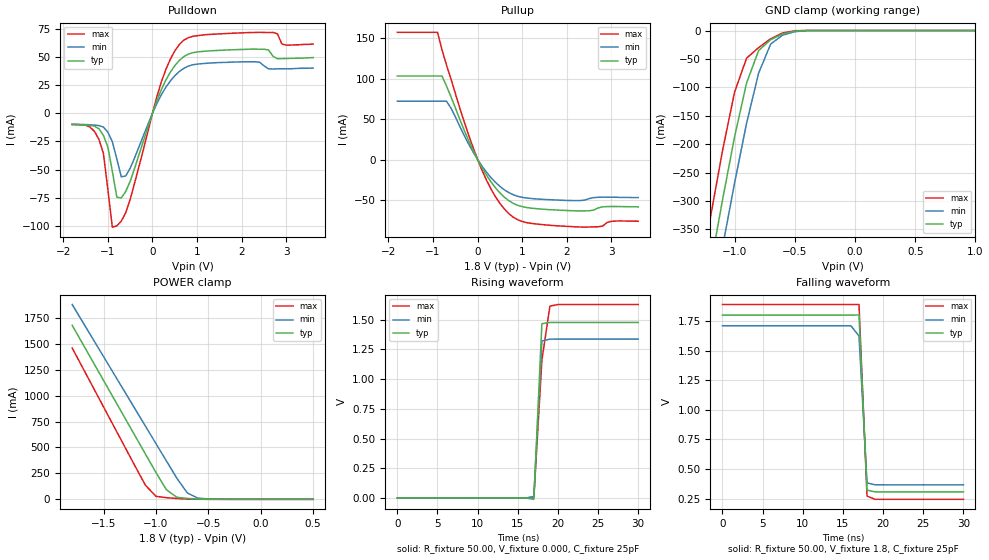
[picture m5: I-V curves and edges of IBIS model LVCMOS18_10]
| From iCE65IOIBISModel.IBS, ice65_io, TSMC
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|   Model LVCMOS18_10
[Model]   LVCMOS18_10
Model_type   I/O
Polarity   Non-Inverting
Enable   Active-High
Vinl =   0.63V
Vinh =   1.17V
Vmeas =   0.9V
Cref =  15.00pF
Rref =   1.00M
Vref =  0.000V
C_comp   1.30pF   1.17pF   1.43pF
[Temperature Range]   25.00   85   -40.00
[Voltage Range]   1.8V   1.71V   1.89V
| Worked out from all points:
|   slope of the pulldown table from 0 to 0.27 V, typ, clamps not added: 10 ohm
|   slope of the pullup table from 0 to 0.27 V, typ, clamps not added: 10.7 ohm
|   GND clamp passes 1 mA (typ) near -0.49 V on its own axis
|   POWER clamp passes 1 mA (typ) near -0.52 V on its own axis
|   rising waveform, R_fixture 50.00, V_fixture 0.000, C_fixture 25pF: 20-80 % time 600ps typ, 613ps min, 1.03ns max; typ from 0 V to 1.48 V
|   falling waveform, R_fixture 50.00, V_fixture 1.8, C_fixture 25pF: 20-80 % time 605ps typ, 650ps min, 610ps max; typ from 1.8 V to 0.306 V
[Pulldown]
| voltage I(typ) I(min) I(max)
-1.8V     -10mA      -9.7mA     -9.9mA
-1.2V     -13.8mA    -10.9mA    -23.2mA
-1.1V     -19.6mA    -12.2mA    -35.7mA
-900mV    -51.5mA    -25.2mA    -101mA
-800mV    -74.4mA    -40.5mA    -99.9mA
-700mV    -75.2mA    -56.3mA    -95.7mA
-600mV    -69.3mA    -55.6mA    -88.2mA
200mV     21.1mA     16.5mA     28mA
700mV     50.2mA     39.8mA     64.8mA
2.7V      50.6mA     39.3mA     71.7mA
2.9V      48.5mA     39.5mA     61.5mA
3.6V      49.4mA     40.1mA     61.4mA
[Pullup]
| voltage I(typ) I(min) I(max)
-1.8V     103.5mA    72.3mA     157.6mA
-900mV    103.5mA    72.3mA     157.6mA
-800mV    103.5mA    72.3mA     136.2mA
-700mV    91.4mA     72.3mA     117.4mA
-300mV    36mA       29.7mA     46.4mA
100mV     -10.3mA    -8.4mA     -13.6mA
400mV     -35.1mA    -28.3mA    -46.2mA
800mV     -54.4mA    -43.7mA    -71.5mA
1.2V      -60.3mA    -48.3mA    -79.1mA
2.4V      -63.6mA    -50.3mA    -83.8mA
3V        -58.2mA    -46.7mA    -76.6mA
3.6V      -58.7mA    -47.2mA    -76.5mA
[GND_clamp]
| voltage I(typ) I(min) I(max)
-1.8V     -1.146A    -1.208A    -1.081A
-1.3V     -535.7mA   -613.6mA   -451.3mA
-1.2V     -416mA     -496.9mA   -328.6mA
-1.1V     -298.4mA   -381.6mA   -211.7mA
-1V       -187.5mA   -268.6mA   -108.7mA
-900mV    -92.3mA    -163.2mA   -48.7mA
-800mV    -35.3mA    -75mA      -30mA
-700mV    -16.1mA    -23.8mA    -14.5mA
-600mV    -6.1mA     -8.1mA     -4.2mA
-500mV    -1.1mA     -2.1mA     -300uA
-400mV    0A         -200uA     0A
1V        0A         0A         0A
[POWER_clamp]
| voltage I(typ) I(min) I(max)
-1.8V     1.678A     1.879A     1.459A
-1.1V     435.3mA    704.5mA    134.7mA
-1V       257.9mA    536.9mA    29mA
-900mV    91.9mA     369.4mA    15.9mA
-800mV    19.2mA     202.3mA    8mA
-700mV    8.2mA      60.4mA     2.3mA
-600mV    3mA        11.7mA     200uA
-400mV    0A         900uA      0A
500mV     0A         0A         0A
[Ramp]
| variable   typ   min   max
dV/dt_r   0.8862n/0.735n 0.8022n/0.876n 0.97704n/0.5867n
dV/dt_f   0.896256n/0.947n 0.806496n/1.125n 0.987966n/0.7643n
R_load = 50
[Rising Waveform]
R_fixture = 50.00
V_fixture = 0.000
V_fixture_min = 0.000
V_fixture_max = 0.000
L_fixture = 0.000H
C_fixture = 25pF
| time   V(typ)   V(min)   V(max)
0s        0V         0V         0V
16ns      0V         0V         0V
17ns      -11mV      13mV       0V
18ns      1.467V     1.322V     1.159V
19ns      1.477V     1.337V     1.615V
20ns      1.477V     1.337V     1.628V
30ns      1.477V     1.337V     1.628V
[Falling Waveform]
R_fixture = 50.00
V_fixture = 1.8
V_fixture_min = 1.71
V_fixture_max = 1.89
L_fixture = 0.000H
C_fixture = 25pF
| time   V(typ)   V(min)   V(max)
0s        1.8V       1.71V      1.89V
16ns      1.8V       1.71V      1.89V
17ns      1.802V     1.624V     1.89V
18ns      321.4mV    382.9mV    270.7mV
19ns      306.3mV    366.3mV    243.5mV
30ns      306.1mV    365.9mV    243.4mV
